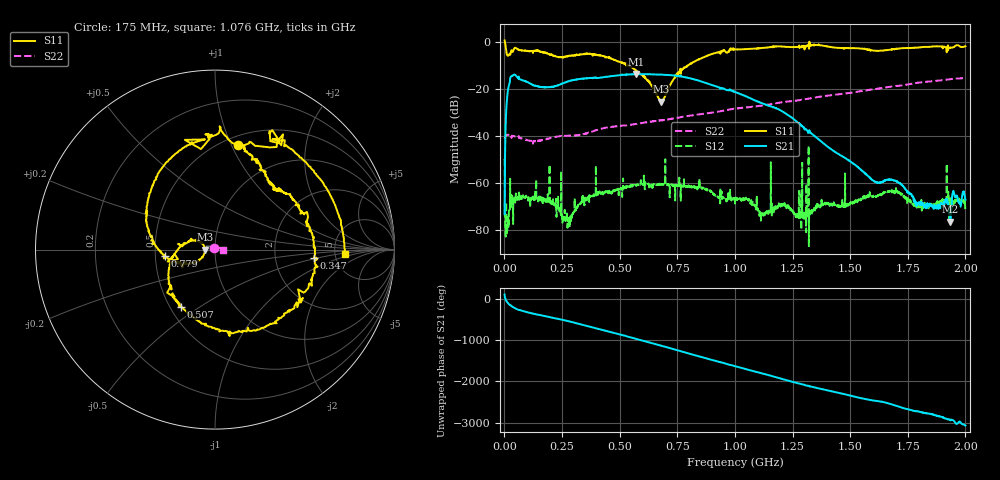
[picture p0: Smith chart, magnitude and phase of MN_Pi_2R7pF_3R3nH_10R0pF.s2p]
# GHZ S RI R 50.000000000000
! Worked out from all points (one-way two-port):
!   2000 points, 1 MHz to 2 GHz, reference 50 ohm
!   highest |S21| = -13.57 dB at 570 MHz (marker M1); lowest = -76.3 dB at 1.935 GHz (marker M2)
!   lowest |S11| = -25.3 dB at 679 MHz (marker M3), VSWR 1.12, Z = 44.8 + j0.029 ohm
!   |S11| at or under -10 dB: 528.9833 MHz to 529.0603 MHz (77.05 kHz wide, 0.0146 % of centre); 538.9 MHz to 794.3 MHz (255.4 MHz wide, 38.3 % of centre)
!   |S22| runs from -43.1 to -15.3 dB; largest |S21 - S12| = 0.21
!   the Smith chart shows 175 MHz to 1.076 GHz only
!   S11 on the Smith chart (normalised r, x): 175 MHz: 0.59, +1.06; 347 MHz: 3.41, -0.44; 507 MHz: 0.57, -0.42; 779 MHz: 0.56, -0.05; 1.076 GHz: 6.17, -0.61
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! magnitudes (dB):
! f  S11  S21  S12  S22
! 1 MHz  0.7  -73.1  -49.7  -40.7
! 14 MHz  -5.8  -21.5  -76.3  -39.4
! 31 MHz  -3.4  -14.4  -68.3  -40.6
! 175 MHz  -4.5  -19.2  -67.0  -41.4
! 274 MHz  -6.1  -16.7  -78.9  -39.8
! 335 MHz  -5.2  -15.6  -67.6  -39.2
! 347 MHz  -5.1  -15.4  -69.4  -39.0
! 507 MHz  -8.6  -14.0  -62.4  -35.5
! 570 MHz  -12.0  -13.6  -60.7  -34.8
! 668 MHz  -23.6  -13.8  -60.4  -33.4
! 679 MHz  -25.3  -13.8  -60.6  -33.3
! 779 MHz  -11.0  -14.8  -58.3  -31.6
! 1.001 GHz  -3.1  -21.2  -67.1  -28.3
! 1.076 GHz  -2.8  -24.3  -68.1  -27.5
! 1.12 GHz  -2.5  -26.1  -72.7  -26.9
! 1.334 GHz  -1.3  -39.0  -72.9  -23.8
! 1.605 GHz  -3.6  -59.2  -65.4  -20.0
! 1.667 GHz  -3.3  -58.3  -63.2  -19.1
! 1.79 GHz  -2.3  -69.0  -70.0  -17.3
! 1.935 GHz  -2.4  -76.3  -70.4  -15.7
! 1.952 GHz  -2.0  -64.6  -67.7  -15.5
! 2 GHz  -1.8  -67.0  -71.0  -15.3
